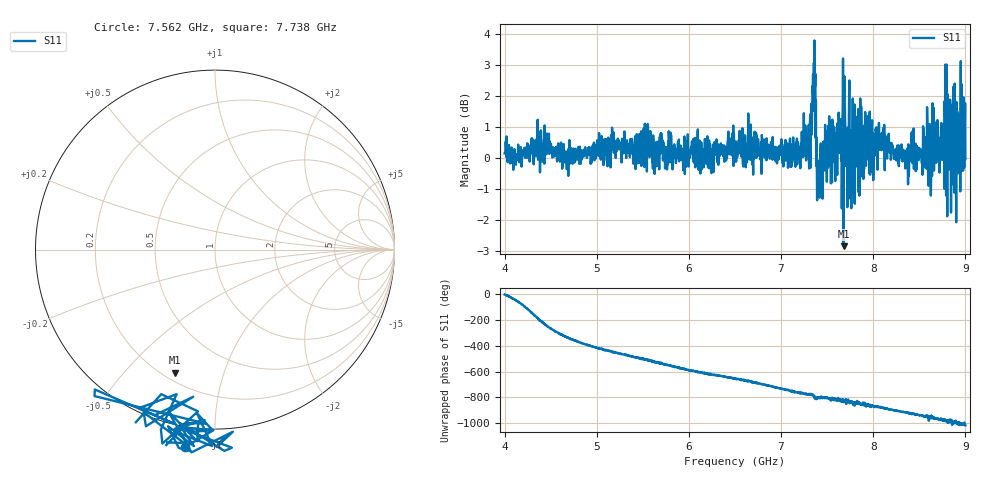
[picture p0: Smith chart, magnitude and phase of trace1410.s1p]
! Created with skrf 1.8.0 (http://scikit-rf.org).
# Hz S RI R 50.0
!freq ReS11 ImS11
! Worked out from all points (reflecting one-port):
!   1601 points, 4 GHz to 9 GHz, reference 50 ohm
!   lowest |S11| = -2.8 dB at 7.678 GHz (marker M1), VSWR 6.17, Z = 12.2 - j34.8 ohm
!   phase of S11 starts at -4 deg and turns -1013 deg over the sweep
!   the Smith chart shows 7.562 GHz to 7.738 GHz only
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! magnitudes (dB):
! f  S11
! 4 GHz  0.1
! 4.103 GHz  0.0
! 4.375 GHz  0.0
! 4.625 GHz  -0.3
! 5.25 GHz  0.4
! 5.875 GHz  0.1
! 6.5 GHz  0.1
! 7.125 GHz  0.4
! 7.294 GHz  0.1
! 7.353 GHz  2.6
! 7.366 GHz  2.4
! 7.4 GHz  -0.1
! 7.412 GHz  -1.0
! 7.512 GHz  1.0
! 7.591 GHz  0.8
! 7.678 GHz  -2.8
! 7.75 GHz  -0.1
! 7.784 GHz  0.2
! 7.822 GHz  1.1
! 7.928 GHz  1.2
! 8.375 GHz  -0.2
! 8.566 GHz  0.6
! 8.612 GHz  1.1
! 8.631 GHz  0.5
! 8.809 GHz  2.0
! 8.875 GHz  0.3
! 8.972 GHz  0.4
! 9 GHz  0.0
